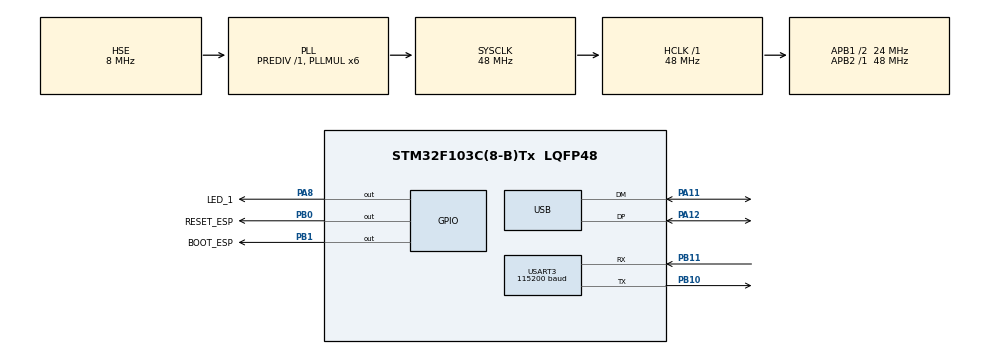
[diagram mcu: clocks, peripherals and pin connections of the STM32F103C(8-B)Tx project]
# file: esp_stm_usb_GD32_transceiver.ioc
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Dma.Request0=USART3_TX
Dma.USART3_TX.0.Direction=DMA_MEMORY_TO_PERIPH
Dma.USART3_TX.0.Instance=DMA1_Channel2
Dma.USART3_TX.0.MemDataAlignment=DMA_MDATAALIGN_BYTE
Dma.USART3_TX.0.MemInc=DMA_MINC_ENABLE
Dma.USART3_TX.0.Mode=DMA_NORMAL
Dma.USART3_TX.0.PeriphDataAlignment=DMA_PDATAALIGN_BYTE
Dma.USART3_TX.0.PeriphInc=DMA_PINC_DISABLE
Dma.USART3_TX.0.Priority=DMA_PRIORITY_LOW
Mcu.Family=STM32F1
Mcu.Name=STM32F103C(8-B)Tx
Mcu.Package=LQFP48
NVIC.DMA1_Channel2_IRQn=true\:0\:0\:false\:false\:true\:false\:true
NVIC.PriorityGroup=NVIC_PRIORITYGROUP_4
NVIC.TIM1_UP_IRQn=true\:0\:0\:false\:false\:true\:true\:true
NVIC.TIM2_IRQn=true\:0\:0\:false\:false\:true\:true\:true
NVIC.USART3_IRQn=true\:0\:0\:false\:false\:true\:true\:true
NVIC.USB_LP_CAN1_RX0_IRQn=true\:0\:0\:false\:false\:true\:false\:true
PA11.Mode=Device
PA11.Signal=USB_DM
PA12.Mode=Device
PA12.Signal=USB_DP
PA13.Mode=Serial_Wire
PA13.Signal=SYS_JTMS-SWDIO
PA14.Mode=Serial_Wire
PA14.Signal=SYS_JTCK-SWCLK
PA8.GPIO_Label=LED_1
PA8.Signal=GPIO_Output
PB0.GPIO_Label=RESET_ESP
PB0.PinState=GPIO_PIN_SET
PB0.Signal=GPIO_Output
PB1.GPIO_Label=BOOT_ESP
PB1.PinState=GPIO_PIN_SET
PB1.Signal=GPIO_Output
PB10.Mode=Asynchronous
PB10.Signal=USART3_TX
PB11.Mode=Asynchronous
PB11.Signal=USART3_RX
PD0-OSC_IN.Mode=HSE-External-Oscillator
PD0-OSC_IN.Signal=RCC_OSC_IN
PD1-OSC_OUT.Mode=HSE-External-Oscillator
PD1-OSC_OUT.Signal=RCC_OSC_OUT
ProjectManager.HeapSize=0x200
ProjectManager.StackSize=0x400
ProjectManager.TargetToolchain=STM32CubeIDE
RCC.AHBFreq_Value=48000000
RCC.APB1CLKDivider=RCC_HCLK_DIV2
RCC.APB1Freq_Value=24000000
RCC.APB1TimFreq_Value=48000000
RCC.APB2Freq_Value=48000000
RCC.APB2TimFreq_Value=48000000
RCC.HCLKFreq_Value=48000000
RCC.PLLMUL=RCC_PLL_MUL6
RCC.SYSCLKFreq_VALUE=48000000
RCC.SYSCLKSource=RCC_SYSCLKSOURCE_PLLCLK
RCC.USBFreq_Value=48000000
TIM1.Period=65535
TIM1.Prescaler=65535
TIM2.Period=4
TIM2.Prescaler=23999
USART3.BaudRate=115200
USART3.VirtualMode=VM_ASYNC
USB_DEVICE.APP_RX_DATA_SIZE=512
USB_DEVICE.APP_TX_DATA_SIZE=512
USB_DEVICE.CLASS_NAME_FS=CDC
USB_DEVICE.PRODUCT_STRING_CDC_FS=GD32_BRACELET
USB_DEVICE.VirtualMode=Cdc
USB_DEVICE.VirtualModeFS=Cdc_FS
VP_TIM1_VS_ClockSourceINT.Mode=Internal
VP_TIM2_VS_ClockSourceINT.Mode=Internal
VP_USB_DEVICE_VS_USB_DEVICE_CDC_FS.Mode=CDC_FS
board=custom

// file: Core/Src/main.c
/* USER CODE BEGIN Header */
/**
  ******************************************************************************
  * @file           : main.c
  * @brief          : Main program body
  ******************************************************************************
  * @attention
  *
  * Copyright (c) 2022 STMicroelectronics.
  * All rights reserved.
  *
  * This software is licensed under terms that can be found in the LICENSE file
  * in the root directory of this software component.
  * If no LICENSE file comes with this software, it is provided AS-IS.
  *
  ******************************************************************************
  */
/* USER CODE END Header */
#include "main.h"
#include "usb_device.h"

/* USER CODE BEGIN Includes */
#include "usbd_cdc_if.h"
/* USER CODE END Includes */

/* USER CODE BEGIN PD */
//#define STM32_USING
#define LED_ON() 	HAL_GPIO_WritePin(LED_1_GPIO_Port, LED_1_Pin, 1)
#define LED_OFF() 	HAL_GPIO_WritePin(LED_1_GPIO_Port, LED_1_Pin, 0)
#define RESET_ON() 	HAL_GPIO_WritePin(RESET_ESP_GPIO_Port, RESET_ESP_Pin, 1)
#define RESET_OFF() HAL_GPIO_WritePin(RESET_ESP_GPIO_Port, RESET_ESP_Pin, 0)
#define BOOT_ON()	HAL_GPIO_WritePin(BOOT_ESP_GPIO_Port, BOOT_ESP_Pin, 1)
#define BOOT_OFF()	HAL_GPIO_WritePin(BOOT_ESP_GPIO_Port, BOOT_ESP_Pin, 0)
/* USER CODE END PD */

TIM_HandleTypeDef htim1;
TIM_HandleTypeDef htim2;

UART_HandleTypeDef huart3;
DMA_HandleTypeDef hdma_usart3_tx;

/* USER CODE BEGIN PV */
extern USBD_HandleTypeDef hUsbDeviceFS;
extern uint8_t UserTxBufferFS[APP_TX_DATA_SIZE];
extern uint8_t UserRxBufferFS[APP_TX_DATA_SIZE];
uint32_t UserTxBufPtrIn = 0;/* Increment this pointer or roll it back to
                               start address when data are received over USART */
uint32_t UserTxBufPtrOut = 0; /* Increment this pointer or roll it back to
                                 start address when data are sent over USB */
volatile uint8_t tim_1_flag = 0;
/* USER CODE END PV */

void SystemClock_Config(void);
static void MX_GPIO_Init(void);
static void MX_DMA_Init(void);
static void MX_USART3_UART_Init(void);
static void MX_TIM2_Init(void);
static void MX_TIM1_Init(void);

/* USER CODE BEGIN 0 */
void HAL_TIM_PeriodElapsedCallback(TIM_HandleTypeDef *htim) {
	if (htim -> Instance == TIM2) {
		uint32_t buffptr;
		uint32_t buffsize;

		if (UserTxBufPtrOut != UserTxBufPtrIn) {
			if (UserTxBufPtrOut > UserTxBufPtrIn) {
				buffsize = APP_RX_DATA_SIZE - UserTxBufPtrOut;
			} else {
				buffsize = UserTxBufPtrIn - UserTxBufPtrOut;
			}

			buffptr = UserTxBufPtrOut;

			USBD_CDC_SetTxBuffer(&hUsbDeviceFS, (uint8_t*) &UserTxBufferFS[buffptr],
					buffsize);

			if (USBD_CDC_TransmitPacket(&hUsbDeviceFS) == USBD_OK) {
				UserTxBufPtrOut += buffsize;
				if (UserTxBufPtrOut == APP_RX_DATA_SIZE) UserTxBufPtrOut = 0;
			}
		}
	} else if (htim -> Instance == TIM1) {
		tim_1_flag = 1;
		HAL_TIM_Base_Stop_IT(&htim1);
	}
}

void HAL_UART_RxCpltCallback(UART_HandleTypeDef *huart) {
	/* Increment Index for buffer writing */
	UserTxBufPtrIn++;

	/* To avoid buffer overflow */
	if(UserTxBufPtrIn == APP_RX_DATA_SIZE) UserTxBufPtrIn = 0;

	/* Start another reception: provide the buffer pointer with offset and the buffer size */
	HAL_UART_Receive_IT(huart, (uint8_t *)(UserTxBufferFS + UserTxBufPtrIn), 1);
}

void HAL_UART_TxCpltCallback(UART_HandleTypeDef *huart) {
	/* Initiate next USB packet transfer once UART completes transfer (transmitting data over Tx line) */
#ifdef STM32_USING
		if (hUsbDeviceFS.dev_state == 0x03) {
#endif
	USBD_CDC_ReceivePacket(&hUsbDeviceFS);
#ifdef STM32_USING
		}
#endif

}
/* USER CODE END 0 */

int main(void)
{

  /* MCU Configuration--------------------------------------------------------*/

  /* Reset of all peripherals, Initializes the Flash interface and the Systick. */
  HAL_Init();

  /* Configure the system clock */
  SystemClock_Config();

  /* Initialize all configured peripherals */
  MX_GPIO_Init();
  MX_USB_DEVICE_Init();
  MX_DMA_Init();
  MX_USART3_UART_Init();
  MX_TIM2_Init();
  MX_TIM1_Init();

  /* Infinite loop */
  /* USER CODE BEGIN WHILE */
  HAL_Delay(1000);
  HAL_UART_Receive_IT(&huart3, (uint8_t *)UserTxBufferFS, 1);
  __HAL_TIM_CLEAR_FLAG(&htim2, TIM_SR_UIF);
  HAL_TIM_Base_Start_IT(&htim2);
  while (1) {
	  if (UserRxBufferFS[0] == 'F' && UserRxBufferFS[1] == 'A' && UserRxBufferFS[3] == '\n') {
		  switch (UserRxBufferFS[2]) {
		  	  case 'A':
		  	  case 'B':
		  		  __HAL_TIM_SET_AUTORELOAD(&htim1, 65535); // about 90 seconds
		  		  break;
		  	  case 'C':
		  		  __HAL_TIM_SET_AUTORELOAD(&htim1, 43946); // 60 seconds
		  		  break;
		  	  case 'D':
		  		  __HAL_TIM_SET_AUTORELOAD(&htim1, 21973); // 30 seconds
		  		  break;
		  }

		  LED_ON();
		  RESET_OFF();
		  BOOT_OFF();
		  HAL_Delay(250);
		  RESET_ON();

		  __HAL_TIM_CLEAR_FLAG(&htim1, TIM_SR_UIF);
		  HAL_TIM_Base_Start_IT(&htim1);
		  while (tim_1_flag == 0);
		  tim_1_flag = 0;

		  BOOT_ON();
		  RESET_OFF();
		  HAL_Delay(250);
		  RESET_ON();
		  LED_OFF();
		  for (uint8_t i = 0; i < 3; i++) UserRxBufferFS[i] = 0;
	  }
    /* USER CODE END WHILE */

  }
}

void SystemClock_Config(void)
{
  RCC_OscInitTypeDef RCC_OscInitStruct = {0};
  RCC_ClkInitTypeDef RCC_ClkInitStruct = {0};
  RCC_PeriphCLKInitTypeDef PeriphClkInit = {0};

  /** Initializes the RCC Oscillators according to the specified parameters
  * in the RCC_OscInitTypeDef structure.
  */
  RCC_OscInitStruct.OscillatorType = RCC_OSCILLATORTYPE_HSE;
  RCC_OscInitStruct.HSEState = RCC_HSE_ON;
  RCC_OscInitStruct.HSEPredivValue = RCC_HSE_PREDIV_DIV1;
  RCC_OscInitStruct.HSIState = RCC_HSI_ON;
  RCC_OscInitStruct.PLL.PLLState = RCC_PLL_ON;
  RCC_OscInitStruct.PLL.PLLSource = RCC_PLLSOURCE_HSE;
  RCC_OscInitStruct.PLL.PLLMUL = RCC_PLL_MUL6;
  if (HAL_RCC_OscConfig(&RCC_OscInitStruct) != HAL_OK)
  {
    Error_Handler();
  }
  /** Initializes the CPU, AHB and APB buses clocks
  */
  RCC_ClkInitStruct.ClockType = RCC_CLOCKTYPE_HCLK|RCC_CLOCKTYPE_SYSCLK
                              |RCC_CLOCKTYPE_PCLK1|RCC_CLOCKTYPE_PCLK2;
  RCC_ClkInitStruct.SYSCLKSource = RCC_SYSCLKSOURCE_PLLCLK;
  RCC_ClkInitStruct.AHBCLKDivider = RCC_SYSCLK_DIV1;
  RCC_ClkInitStruct.APB1CLKDivider = RCC_HCLK_DIV2;
  RCC_ClkInitStruct.APB2CLKDivider = RCC_HCLK_DIV1;

  if (HAL_RCC_ClockConfig(&RCC_ClkInitStruct, FLASH_LATENCY_1) != HAL_OK)
  {
    Error_Handler();
  }
  PeriphClkInit.PeriphClockSelection = RCC_PERIPHCLK_USB;
  PeriphClkInit.UsbClockSelection = RCC_USBCLKSOURCE_PLL;
  if (HAL_RCCEx_PeriphCLKConfig(&PeriphClkInit) != HAL_OK)
  {
    Error_Handler();
  }
}

static void MX_TIM1_Init(void)
{

  TIM_ClockConfigTypeDef sClockSourceConfig = {0};
  TIM_MasterConfigTypeDef sMasterConfig = {0};

  htim1.Instance = TIM1;
  htim1.Init.Prescaler = 65535;
  htim1.Init.CounterMode = TIM_COUNTERMODE_UP;
  htim1.Init.Period = 65535;
  htim1.Init.ClockDivision = TIM_CLOCKDIVISION_DIV1;
  htim1.Init.RepetitionCounter = 0;
  htim1.Init.AutoReloadPreload = TIM_AUTORELOAD_PRELOAD_DISABLE;
  if (HAL_TIM_Base_Init(&htim1) != HAL_OK)
  {
    Error_Handler();
  }
  sClockSourceConfig.ClockSource = TIM_CLOCKSOURCE_INTERNAL;
  if (HAL_TIM_ConfigClockSource(&htim1, &sClockSourceConfig) != HAL_OK)
  {
    Error_Handler();
  }
  sMasterConfig.MasterOutputTrigger = TIM_TRGO_RESET;
  sMasterConfig.MasterSlaveMode = TIM_MASTERSLAVEMODE_DISABLE;
  if (HAL_TIMEx_MasterConfigSynchronization(&htim1, &sMasterConfig) != HAL_OK)
  {
    Error_Handler();
  }

}

static void MX_TIM2_Init(void)
{

  TIM_ClockConfigTypeDef sClockSourceConfig = {0};
  TIM_MasterConfigTypeDef sMasterConfig = {0};

  htim2.Instance = TIM2;
  htim2.Init.Prescaler = 23999;
  htim2.Init.CounterMode = TIM_COUNTERMODE_UP;
  htim2.Init.Period = 4;
  htim2.Init.ClockDivision = TIM_CLOCKDIVISION_DIV1;
  htim2.Init.AutoReloadPreload = TIM_AUTORELOAD_PRELOAD_DISABLE;
  if (HAL_TIM_Base_Init(&htim2) != HAL_OK)
  {
    Error_Handler();
  }
  sClockSourceConfig.ClockSource = TIM_CLOCKSOURCE_INTERNAL;
  if (HAL_TIM_ConfigClockSource(&htim2, &sClockSourceConfig) != HAL_OK)
  {
    Error_Handler();
  }
  sMasterConfig.MasterOutputTrigger = TIM_TRGO_RESET;
  sMasterConfig.MasterSlaveMode = TIM_MASTERSLAVEMODE_DISABLE;
  if (HAL_TIMEx_MasterConfigSynchronization(&htim2, &sMasterConfig) != HAL_OK)
  {
    Error_Handler();
  }

}

static void MX_USART3_UART_Init(void)
{

  huart3.Instance = USART3;
  huart3.Init.BaudRate = 115200;
  huart3.Init.WordLength = UART_WORDLENGTH_8B;
  huart3.Init.StopBits = UART_STOPBITS_1;
  huart3.Init.Parity = UART_PARITY_NONE;
  huart3.Init.Mode = UART_MODE_TX_RX;
  huart3.Init.HwFlowCtl = UART_HWCONTROL_NONE;
  huart3.Init.OverSampling = UART_OVERSAMPLING_16;
  if (HAL_UART_Init(&huart3) != HAL_OK)
  {
    Error_Handler();
  }

}

static void MX_DMA_Init(void)
{

  /* DMA controller clock enable */
  __HAL_RCC_DMA1_CLK_ENABLE();

  /* DMA interrupt init */
  /* DMA1_Channel2_IRQn interrupt configuration */
  HAL_NVIC_SetPriority(DMA1_Channel2_IRQn, 0, 0);
  HAL_NVIC_EnableIRQ(DMA1_Channel2_IRQn);

}

static void MX_GPIO_Init(void)
{
  GPIO_InitTypeDef GPIO_InitStruct = {0};

  /* GPIO Ports Clock Enable */
  __HAL_RCC_GPIOD_CLK_ENABLE();
  __HAL_RCC_GPIOB_CLK_ENABLE();
  __HAL_RCC_GPIOA_CLK_ENABLE();

  /*Configure GPIO pin Output Level */
  HAL_GPIO_WritePin(GPIOB, RESET_ESP_Pin|BOOT_ESP_Pin, GPIO_PIN_SET);

  /*Configure GPIO pin Output Level */
  HAL_GPIO_WritePin(LED_1_GPIO_Port, LED_1_Pin, GPIO_PIN_RESET);

  /*Configure GPIO pins : RESET_ESP_Pin BOOT_ESP_Pin */
  GPIO_InitStruct.Pin = RESET_ESP_Pin|BOOT_ESP_Pin;
  GPIO_InitStruct.Mode = GPIO_MODE_OUTPUT_PP;
  GPIO_InitStruct.Pull = GPIO_NOPULL;
  GPIO_InitStruct.Speed = GPIO_SPEED_FREQ_LOW;
  HAL_GPIO_Init(GPIOB, &GPIO_InitStruct);

  /*Configure GPIO pin : LED_1_Pin */
  GPIO_InitStruct.Pin = LED_1_Pin;
  GPIO_InitStruct.Mode = GPIO_MODE_OUTPUT_PP;
  GPIO_InitStruct.Pull = GPIO_NOPULL;
  GPIO_InitStruct.Speed = GPIO_SPEED_FREQ_LOW;
  HAL_GPIO_Init(LED_1_GPIO_Port, &GPIO_InitStruct);

}

void Error_Handler(void)
{
  __disable_irq();
  while (1)
  {
  }
}
